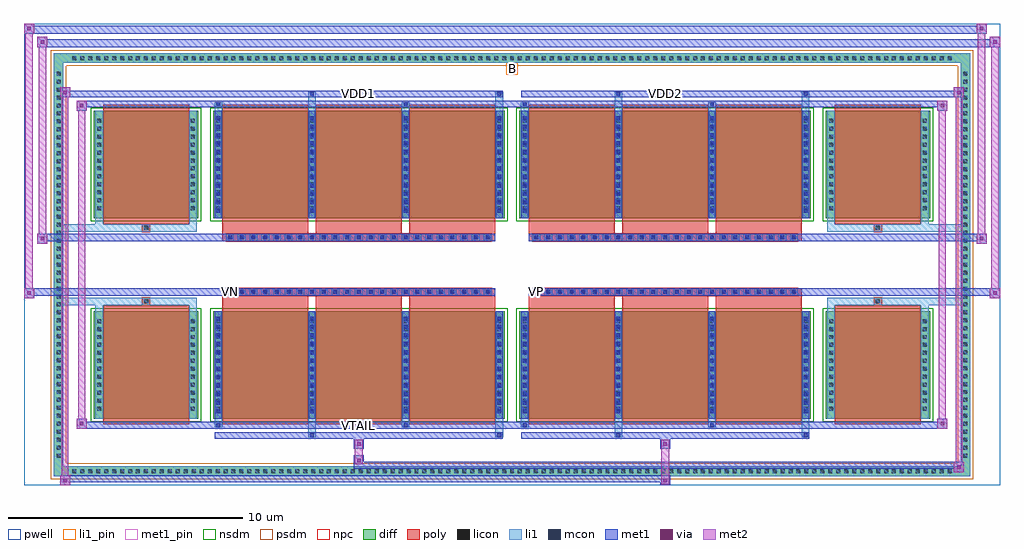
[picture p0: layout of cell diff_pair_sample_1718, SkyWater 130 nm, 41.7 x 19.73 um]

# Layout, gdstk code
import gdstk
lib = gdstk.Library(unit=1e-6, precision=5e-09)
def R(c, l, rs):  # rectangles x0, y0, x1, y1
    for r in rs: c.add(gdstk.rectangle(r[:2], r[2:], *l))
def A(c, l, x, y, w, h, nx, ny, dx, dy):  # array of equal rectangles
    R(c, l, [(x+i*dx, y+j*dy, x+i*dx+w, y+j*dy+h) for i in range(nx) for j in range(ny)])
def P(c, l, *ps):  # polygons
    for p in ps: c.add(gdstk.Polygon(p, *l))
pwell = (64, 44)
diff = (65, 20)
poly = (66, 20)
licon = (66, 44)
li1_pin = (67, 16)
li1 = (67, 20)
mcon = (67, 44)
met1_pin = (68, 16)
met1 = (68, 20)
via = (68, 44)
met2 = (69, 20)
nsdm = (93, 44)
psdm = (94, 20)
npc = (95, 20)

diff_pair_sample_1718 = lib.new_cell('diff_pair_sample_1718')
R(diff_pair_sample_1718, pwell, [(-20.85,-9.43,20.85,10.3), (-18.17,-7.62,-0.01,-0.8), (0.01,-7.62,18.17,-0.8), (-18.17,0.8,-0.01,7.62), (0.01,0.8,18.17,7.62)])
A(diff_pair_sample_1718, diff, -18.905, -9.03, 0.41, 0.41, 111, 2, 0.34, 17.65)
A(diff_pair_sample_1718, diff, -19.58, -8.365, 0.41, 0.41, 1, 49, 0, 0.34)
A(diff_pair_sample_1718, diff, 19.17, -8.365, 0.41, 0.41, 1, 49, 0, 0.34)
R(diff_pair_sample_1718, diff, [(-18.905,-9.03,18.905,-8.62), (-19.58,-8.365,-19.17,8.365), (19.17,-8.365,19.58,8.365), (-17.86,-6.575,-13.41,-1.985), (-12.77,-6.575,-0.32,-1.985), (0.32,-6.575,12.77,-1.985), (13.41,-6.575,17.86,-1.985), (-17.86,1.985,-13.41,6.575), (-12.77,1.985,-0.32,6.575), (0.32,1.985,12.77,6.575), (13.41,1.985,17.86,6.575), (-18.905,8.62,18.905,9.03)])
P(diff_pair_sample_1718, diff, [(19.58,9.03),(-19.58,9.03),(-19.58,-8.62),(-19.17,-8.62),(-19.17,8.62),(19.17,8.62),(19.17,-8.62),(-19.17,-8.62),(-19.58,-8.62),(-19.58,-9.03),(19.58,-9.03)])
A(diff_pair_sample_1718, poly, -12.38, -6.825, 3.67, 5.09, 3, 2, 4, 8.56)
A(diff_pair_sample_1718, poly, 0.71, -6.825, 3.67, 5.09, 3, 2, 4, 8.56)
A(diff_pair_sample_1718, poly, -12.38, -1.735, 3.67, 0.405, 3, 2, 4, 3.065)
A(diff_pair_sample_1718, poly, 0.71, -1.735, 3.67, 0.405, 3, 2, 4, 3.065)
A(diff_pair_sample_1718, poly, -12.21, -1.33, 0.33, 0.33, 23, 2, 0.5, 2.33)
A(diff_pair_sample_1718, poly, 0.88, -1.33, 0.33, 0.33, 23, 2, 0.5, 2.33)
R(diff_pair_sample_1718, poly, [(-17.47,-6.825,-13.8,-1.735), (13.8,-6.825,17.47,-1.735), (-15.8,-1.735,-15.47,-1.405), (-15.8,-1.735,-15.47,-1.405), (15.47,-1.735,15.8,-1.405), (15.47,-1.735,15.8,-1.405), (-12.38,-1.33,-0.71,-1), (0.71,-1.33,12.38,-1), (-12.38,1,-0.71,1.33), (0.71,1,12.38,1.33), (-15.8,1.405,-15.47,1.735), (-15.8,1.405,-15.47,1.735), (15.47,1.405,15.8,1.735), (15.47,1.405,15.8,1.735), (-17.47,1.735,-13.8,6.825), (13.8,1.735,17.47,6.825)])
A(diff_pair_sample_1718, licon, -18.785, -8.91, 0.17, 0.17, 111, 2, 0.34, 17.65)
A(diff_pair_sample_1718, licon, -19.46, -8.245, 0.17, 0.17, 1, 49, 0, 0.34)
A(diff_pair_sample_1718, licon, 19.29, -8.245, 0.17, 0.17, 1, 49, 0, 0.34)
A(diff_pair_sample_1718, licon, -17.72, -6.235, 0.17, 0.17, 1, 12, 0, 0.34)
A(diff_pair_sample_1718, licon, -13.72, -6.235, 0.17, 0.17, 1, 12, 0, 0.34)
A(diff_pair_sample_1718, licon, -12.63, -6.235, 0.17, 0.17, 4, 12, 4, 0.34)
A(diff_pair_sample_1718, licon, 0.46, -6.235, 0.17, 0.17, 4, 12, 4, 0.34)
A(diff_pair_sample_1718, licon, 13.55, -6.235, 0.17, 0.17, 1, 12, 0, 0.34)
A(diff_pair_sample_1718, licon, 17.55, -6.235, 0.17, 0.17, 1, 12, 0, 0.34)
A(diff_pair_sample_1718, licon, -12.13, -1.25, 0.17, 0.17, 23, 2, 0.5, 2.33)
A(diff_pair_sample_1718, licon, 0.96, -1.25, 0.17, 0.17, 23, 2, 0.5, 2.33)
A(diff_pair_sample_1718, licon, -17.72, 2.325, 0.17, 0.17, 1, 12, 0, 0.34)
A(diff_pair_sample_1718, licon, -13.72, 2.325, 0.17, 0.17, 1, 12, 0, 0.34)
A(diff_pair_sample_1718, licon, -12.63, 2.325, 0.17, 0.17, 4, 12, 4, 0.34)
A(diff_pair_sample_1718, licon, 0.46, 2.325, 0.17, 0.17, 4, 12, 4, 0.34)
A(diff_pair_sample_1718, licon, 13.55, 2.325, 0.17, 0.17, 1, 12, 0, 0.34)
A(diff_pair_sample_1718, licon, 17.55, 2.325, 0.17, 0.17, 1, 12, 0, 0.34)
R(diff_pair_sample_1718, licon, [(-15.72,-1.655,-15.55,-1.485), (15.55,-1.655,15.72,-1.485), (-15.72,1.485,-15.55,1.655), (15.55,1.485,15.72,1.655)])
R(diff_pair_sample_1718, li1_pin, [(-0.25,8.12,0.25,8.62)])
A(diff_pair_sample_1718, li1, -18.865, -8.99, 0.33, 0.33, 111, 2, 0.34, 17.65)
A(diff_pair_sample_1718, li1, -19.54, -8.325, 0.33, 0.33, 1, 49, 0, 0.34)
A(diff_pair_sample_1718, li1, 19.21, -8.325, 0.33, 0.33, 1, 49, 0, 0.34)
A(diff_pair_sample_1718, li1, -12.71, -6.575, 0.33, 4.59, 4, 2, 4, 8.56)
A(diff_pair_sample_1718, li1, 0.38, -6.575, 0.33, 4.59, 4, 2, 4, 8.56)
A(diff_pair_sample_1718, li1, -12.63, -6.345, 0.17, 0.17, 4, 12, 4, 0.36)
A(diff_pair_sample_1718, li1, -12.63, -6.345, 0.17, 4.13, 4, 2, 4, 8.56)
A(diff_pair_sample_1718, li1, 0.46, -6.345, 0.17, 0.17, 4, 12, 4, 0.36)
A(diff_pair_sample_1718, li1, 0.46, -6.345, 0.17, 4.13, 4, 2, 4, 8.56)
A(diff_pair_sample_1718, li1, -17.8, -6.315, 0.33, 0.33, 1, 12, 0, 0.34)
A(diff_pair_sample_1718, li1, -13.8, -6.315, 0.33, 0.33, 1, 12, 0, 0.34)
A(diff_pair_sample_1718, li1, -12.71, -6.315, 0.33, 0.33, 4, 12, 4, 0.34)
A(diff_pair_sample_1718, li1, 0.38, -6.315, 0.33, 0.33, 4, 12, 4, 0.34)
A(diff_pair_sample_1718, li1, 13.47, -6.315, 0.33, 0.33, 1, 12, 0, 0.34)
A(diff_pair_sample_1718, li1, 17.47, -6.315, 0.33, 0.33, 1, 12, 0, 0.34)
A(diff_pair_sample_1718, li1, -12.21, -1.33, 0.33, 0.33, 23, 2, 0.5, 2.33)
A(diff_pair_sample_1718, li1, 0.88, -1.33, 0.33, 0.33, 23, 2, 0.5, 2.33)
A(diff_pair_sample_1718, li1, -12.63, 2.215, 0.17, 0.17, 4, 12, 4, 0.36)
A(diff_pair_sample_1718, li1, 0.46, 2.215, 0.17, 0.17, 4, 12, 4, 0.36)
A(diff_pair_sample_1718, li1, -17.8, 2.245, 0.33, 0.33, 1, 12, 0, 0.34)
A(diff_pair_sample_1718, li1, -13.8, 2.245, 0.33, 0.33, 1, 12, 0, 0.34)
A(diff_pair_sample_1718, li1, -12.71, 2.245, 0.33, 0.33, 4, 12, 4, 0.34)
A(diff_pair_sample_1718, li1, 0.38, 2.245, 0.33, 0.33, 4, 12, 4, 0.34)
A(diff_pair_sample_1718, li1, 13.47, 2.245, 0.33, 0.33, 1, 12, 0, 0.34)
A(diff_pair_sample_1718, li1, 17.47, 2.245, 0.33, 0.33, 1, 12, 0, 0.34)
R(diff_pair_sample_1718, li1, [(-19.58,-9.03,-19.17,-8.62), (-19.58,-9.03,-19.17,-8.62), (-19.17,-9.03,19.17,-8.62), (19.17,-9.03,19.58,-8.62), (19.17,-9.03,19.58,-8.62), (-19.58,-8.62,-19.17,8.62), (19.17,-8.62,19.58,8.62), (-8.71,-7.38,-8.38,-6.575), (-8.63,-7.38,-8.46,-7.21), (-0.71,-7.38,-0.38,-6.575), (-0.63,-7.38,-0.46,-7.21), (4.38,-7.38,4.71,-6.575), (4.46,-7.38,4.63,-7.21), (12.38,-7.38,12.71,-6.575), (12.46,-7.38,12.63,-7.21), (-12.71,-6.95,-12.38,-6.575), (-12.63,-6.95,-12.46,-6.78), (-4.71,-6.95,-4.38,-6.575), (-4.63,-6.95,-4.46,-6.78), (0.38,-6.95,0.71,-6.575), (0.46,-6.95,0.63,-6.78), (8.38,-6.95,8.71,-6.575), (8.46,-6.95,8.63,-6.78), (-17.8,-6.575,-17.47,-1.985), (-13.8,-6.575,-13.47,-1.985), (13.47,-6.575,13.8,-1.985), (17.47,-6.575,17.8,-1.985), (-17.8,-1.985,-17.47,-1.405), (-13.8,-1.985,-13.47,-1.405), (13.47,-1.985,13.8,-1.405), (17.47,-1.985,17.8,-1.405), (-19.58,-1.735,-15.8,-1.405), (-17.8,-1.735,-15.8,-1.405), (-15.8,-1.735,-15.47,-1.405), (-15.47,-1.735,-13.47,-1.405), (13.47,-1.735,15.47,-1.405), (15.47,-1.735,15.8,-1.405), (15.47,-1.735,19.58,-1.405), (15.8,-1.735,17.8,-1.405), (-19.58,1.405,-15.8,1.735), (-17.8,1.405,-15.8,1.735), (-17.8,1.405,-17.47,1.985), (-15.8,1.405,-15.47,1.735), (-15.47,1.405,-13.47,1.735), (-13.8,1.405,-13.47,1.985), (13.47,1.405,15.47,1.735), (13.47,1.405,13.8,1.985), (15.47,1.405,15.8,1.735), (15.47,1.405,19.58,1.735), (15.8,1.405,17.8,1.735), (17.47,1.405,17.8,1.985), (-17.8,1.985,-17.47,6.575), (-13.8,1.985,-13.47,6.575), (13.47,1.985,13.8,6.575), (17.47,1.985,17.8,6.575), (-12.71,6.575,-12.38,6.95), (-8.71,6.575,-8.38,7.38), (-4.71,6.575,-4.38,6.95), (-0.71,6.575,-0.38,7.38), (0.38,6.575,0.71,6.95), (4.38,6.575,4.71,7.38), (8.38,6.575,8.71,6.95), (12.38,6.575,12.71,7.38), (-12.63,6.78,-12.46,6.95), (-4.63,6.78,-4.46,6.95), (0.46,6.78,0.63,6.95), (8.46,6.78,8.63,6.95), (-8.63,7.21,-8.46,7.38), (-0.63,7.21,-0.46,7.38), (4.46,7.21,4.63,7.38), (12.46,7.21,12.63,7.38), (-19.58,8.62,-19.17,9.03), (-19.58,8.62,-19.17,9.03), (-19.17,8.62,19.17,9.03), (19.17,8.62,19.58,9.03), (19.17,8.62,19.58,9.03)])
A(diff_pair_sample_1718, mcon, -12.63, -6.345, 0.17, 0.17, 4, 12, 4, 0.36)
A(diff_pair_sample_1718, mcon, 0.46, -6.345, 0.17, 0.17, 4, 12, 4, 0.36)
A(diff_pair_sample_1718, mcon, -12.13, -1.25, 0.17, 0.17, 23, 2, 0.5, 2.33)
A(diff_pair_sample_1718, mcon, 0.96, -1.25, 0.17, 0.17, 23, 2, 0.5, 2.33)
A(diff_pair_sample_1718, mcon, -12.63, 2.215, 0.17, 0.17, 4, 12, 4, 0.36)
A(diff_pair_sample_1718, mcon, 0.46, 2.215, 0.17, 0.17, 4, 12, 4, 0.36)
R(diff_pair_sample_1718, mcon, [(-8.63,-7.38,-8.46,-7.21), (-0.63,-7.38,-0.46,-7.21), (4.46,-7.38,4.63,-7.21), (12.46,-7.38,12.63,-7.21), (-12.63,-6.95,-12.46,-6.78), (-4.63,-6.95,-4.46,-6.78), (0.46,-6.95,0.63,-6.78), (8.46,-6.95,8.63,-6.78), (-12.63,6.78,-12.46,6.95), (-4.63,6.78,-4.46,6.95), (0.46,6.78,0.63,6.95), (8.46,6.78,8.63,6.95), (-8.63,7.21,-8.46,7.38), (-0.63,7.21,-0.46,7.38), (4.46,7.21,4.63,7.38), (12.46,7.21,12.63,7.38)])
R(diff_pair_sample_1718, met1_pin, [(-6.68,-6.99,-6.41,-6.72), (-12.18,-1.29,-11.91,-1.02), (0.91,-1.29,1.18,-1.02), (-6.68,7.17,-6.41,7.44), (6.41,7.17,6.68,7.44)])
A(diff_pair_sample_1718, met1, -12.69, -6.575, 0.29, 4.59, 4, 2, 4, 8.56)
A(diff_pair_sample_1718, met1, 0.4, -6.575, 0.29, 4.59, 4, 2, 4, 8.56)
A(diff_pair_sample_1718, met1, -12.69, -6.405, 0.29, 0.29, 4, 12, 4, 0.36)
A(diff_pair_sample_1718, met1, 0.4, -6.405, 0.29, 0.29, 4, 12, 4, 0.36)
A(diff_pair_sample_1718, met1, -12.19, -1.31, 0.29, 0.29, 23, 2, 0.5, 2.33)
A(diff_pair_sample_1718, met1, 0.9, -1.31, 0.29, 0.29, 23, 2, 0.5, 2.33)
A(diff_pair_sample_1718, met1, -12.69, 2.155, 0.29, 0.29, 4, 12, 4, 0.36)
A(diff_pair_sample_1718, met1, 0.4, 2.155, 0.29, 0.29, 4, 12, 4, 0.36)
R(diff_pair_sample_1718, met1, [(-19.31,-9.43,-18.88,-9), (6.33,-9.43,6.76,-9), (-19.31,-9.29,6.76,-9), (18.88,-8.86,19.31,-8.43), (-6.76,-8.72,19.31,-8.43), (-6.76,-8.58,-6.33,-8.15), (-6.76,-7.87,-6.33,-7.44), (6.33,-7.87,6.76,-7.44), (-12.69,-7.44,-0.4,-7.15), (-8.69,-7.44,-8.4,-7.15), (-0.69,-7.44,-0.4,-7.15), (0.4,-7.44,12.69,-7.15), (4.4,-7.44,4.69,-7.15), (12.4,-7.44,12.69,-7.15), (-18.6,-7.01,-18.17,-6.58), (-18.6,-7.01,-12.69,-6.72), (-12.69,-7.01,-12.4,-6.72), (-12.69,-7.01,-0.4,-6.72), (-4.69,-7.01,-4.4,-6.72), (-0.4,-7.01,0.4,-6.72), (0.4,-7.01,0.69,-6.72), (0.4,-7.01,12.69,-6.72), (8.4,-7.01,8.69,-6.72), (12.69,-7.01,18.6,-6.72), (18.17,-7.01,18.6,-6.58), (-20.85,-1.43,-20.42,-1), (20.42,-1.43,20.85,-1), (-20.85,-1.33,-0.71,-1), (-12.38,-1.33,-0.71,-1), (0.71,-1.33,12.38,-1), (0.71,-1.33,20.85,-1), (-20.28,0.9,-19.85,1.33), (19.85,0.9,20.28,1.33), (-20.28,1,-12.38,1.33), (-12.38,1,-0.71,1.33), (0.71,1,12.38,1.33), (12.38,1,20.28,1.33), (-18.6,6.58,-18.17,7.01), (18.17,6.58,18.6,7.01), (-18.6,6.72,-12.69,7.01), (-12.69,6.72,-12.4,7.01), (-12.69,6.72,-0.4,7.01), (-4.69,6.72,-4.4,7.01), (-0.4,6.72,0.4,7.01), (0.4,6.72,0.69,7.01), (0.4,6.72,12.69,7.01), (8.4,6.72,8.69,7.01), (12.69,6.72,18.6,7.01), (-19.31,7.15,-18.88,7.58), (-19.31,7.15,-12.69,7.44), (-12.69,7.15,-0.4,7.44), (-8.69,7.15,-8.4,7.44), (-0.69,7.15,-0.4,7.44), (0.4,7.15,12.69,7.44), (4.4,7.15,4.69,7.44), (12.4,7.15,12.69,7.44), (12.69,7.15,19.31,7.44), (18.88,7.15,19.31,7.58), (-20.28,9.3,-19.85,9.73), (-20.28,9.3,-18.17,9.63), (-18.17,9.3,18.17,9.63), (18.17,9.3,20.85,9.63), (20.42,9.3,20.85,9.73), (-20.85,9.87,-20.42,10.3), (-20.85,9.87,-18.17,10.2), (-18.17,9.87,18.17,10.2), (18.17,9.87,20.28,10.2), (19.85,9.87,20.28,10.3)])
R(diff_pair_sample_1718, via, [(-19.17,-9.29,-19.02,-9.14), (6.47,-9.29,6.62,-9.14), (19.02,-8.72,19.17,-8.57), (-6.62,-8.44,-6.47,-8.29), (-6.62,-7.73,-6.47,-7.58), (6.47,-7.73,6.62,-7.58), (-18.46,-6.87,-18.31,-6.72), (18.31,-6.87,18.46,-6.72), (-20.71,-1.29,-20.56,-1.14), (20.56,-1.29,20.71,-1.14), (-20.14,1.04,-19.99,1.19), (19.99,1.04,20.14,1.19), (-18.46,6.72,-18.31,6.87), (18.31,6.72,18.46,6.87), (-19.17,7.29,-19.02,7.44), (19.02,7.29,19.17,7.44), (-20.14,9.44,-19.99,9.59), (20.56,9.44,20.71,9.59), (-20.71,10.01,-20.56,10.16), (19.99,10.01,20.14,10.16)])
R(diff_pair_sample_1718, met2, [(-19.31,-9.43,-18.88,-9), (-19.24,-9.43,-18.95,7.58), (-18.95,-9.43,-18.88,-9), (-19.26,-9.38,-18.93,-9.05), (6.38,-9.38,6.71,-9.05), (6.38,-9.05,6.71,-7.82), (18.88,-8.86,19.31,-8.43), (18.95,-8.86,19.24,7.58), (19.24,-8.86,19.31,-8.43), (18.93,-8.81,19.26,-8.48), (-6.71,-8.53,-6.38,-8.2), (-6.71,-8.2,-6.38,-7.82), (-6.71,-7.82,-6.38,-7.49), (6.38,-7.82,6.71,-7.49), (-18.6,-7.01,-18.17,-6.58), (-18.53,-7.01,-18.24,7.01), (-18.24,-7.01,-18.17,-6.58), (18.17,-7.01,18.6,-6.58), (18.24,-7.01,18.53,7.01), (18.53,-7.01,18.6,-6.58), (-18.55,-6.96,-18.22,-6.63), (18.22,-6.96,18.55,-6.63), (-20.85,-1.43,-20.42,-1), (-20.8,-1.43,-20.47,10.3), (-20.47,-1.43,-20.42,-1), (20.42,-1.43,20.85,-1), (20.47,-1.43,20.8,9.73), (20.8,-1.43,20.85,-1), (-20.8,-1.38,-20.47,-1.05), (20.47,-1.38,20.8,-1.05), (-20.28,0.9,-19.85,1.33), (-20.23,0.9,-19.9,9.73), (-19.9,0.9,-19.85,1.33), (19.85,0.9,20.28,1.33), (19.9,0.9,20.23,10.3), (20.23,0.9,20.28,1.33), (-20.23,0.95,-19.9,1.28), (19.9,0.95,20.23,1.28), (-18.6,6.58,-18.17,7.01), (-18.24,6.58,-18.17,7.01), (18.17,6.58,18.6,7.01), (18.53,6.58,18.6,7.01), (-18.55,6.63,-18.22,6.96), (18.22,6.63,18.55,6.96), (-19.31,7.15,-18.88,7.58), (-18.95,7.15,-18.88,7.58), (18.88,7.15,19.31,7.58), (19.24,7.15,19.31,7.58), (-19.26,7.2,-18.93,7.53), (18.93,7.2,19.26,7.53), (-20.28,9.3,-19.85,9.73), (-19.9,9.3,-19.85,9.73), (20.42,9.3,20.85,9.73), (20.8,9.3,20.85,9.73), (-20.23,9.35,-19.9,9.68), (20.47,9.35,20.8,9.68), (-20.85,9.87,-20.42,10.3), (-20.47,9.87,-20.42,10.3), (19.85,9.87,20.28,10.3), (20.23,9.87,20.28,10.3), (-20.8,9.92,-20.47,10.25), (19.9,9.92,20.23,10.25)])
R(diff_pair_sample_1718, nsdm, [(-17.99,-6.705,-13.28,-1.855), (-12.9,-6.705,-0.19,-1.855), (0.19,-6.705,12.9,-1.855), (13.28,-6.705,17.99,-1.855), (-17.99,1.855,-13.28,6.705), (-12.9,1.855,-0.19,6.705), (0.19,1.855,12.9,6.705), (13.28,1.855,17.99,6.705)])
P(diff_pair_sample_1718, psdm, [(19.71,9.16),(-19.71,9.16),(-19.71,-8.49),(-19.04,-8.49),(-19.04,8.49),(19.04,8.49),(19.04,-8.49),(-19.04,-8.49),(-19.71,-8.49),(-19.71,-9.16),(19.71,-9.16)])
A(diff_pair_sample_1718, npc, -12.23, -1.35, 0.37, 0.37, 23, 2, 0.5, 2.33)
A(diff_pair_sample_1718, npc, 0.86, -1.35, 0.37, 0.37, 23, 2, 0.5, 2.33)
R(diff_pair_sample_1718, npc, [(-15.82,-1.755,-15.45,-1.385), (15.45,-1.755,15.82,-1.385), (-12.23,-1.35,-11.36,-0.98), (-12.23,-1.35,-11.36,-0.98), (-11.73,-1.35,-10.86,-0.98), (-11.73,-1.35,-10.86,-0.98), (-11.23,-1.35,-10.36,-0.98), (-11.23,-1.35,-10.36,-0.98), (-10.73,-1.35,-9.86,-0.98), (-10.73,-1.35,-9.86,-0.98), (-10.23,-1.35,-9.36,-0.98), (-10.23,-1.35,-9.36,-0.98), (-9.73,-1.35,-8.86,-0.98), (-9.73,-1.35,-8.86,-0.98), (-9.23,-1.35,-8.36,-0.98), (-9.23,-1.35,-8.36,-0.98), (-8.73,-1.35,-7.86,-0.98), (-8.73,-1.35,-7.86,-0.98), (-8.23,-1.35,-7.36,-0.98), (-8.23,-1.35,-7.36,-0.98), (-7.73,-1.35,-6.86,-0.98), (-7.73,-1.35,-6.86,-0.98), (-7.23,-1.35,-6.36,-0.98), (-7.23,-1.35,-6.36,-0.98), (-6.73,-1.35,-5.86,-0.98), (-6.73,-1.35,-5.86,-0.98), (-6.23,-1.35,-5.36,-0.98), (-6.23,-1.35,-5.36,-0.98), (-5.73,-1.35,-4.86,-0.98), (-5.73,-1.35,-4.86,-0.98), (-5.23,-1.35,-4.36,-0.98), (-5.23,-1.35,-4.36,-0.98), (-4.73,-1.35,-3.86,-0.98), (-4.73,-1.35,-3.86,-0.98), (-4.23,-1.35,-3.36,-0.98), (-4.23,-1.35,-3.36,-0.98), (-3.73,-1.35,-2.86,-0.98), (-3.73,-1.35,-2.86,-0.98), (-3.23,-1.35,-2.36,-0.98), (-3.23,-1.35,-2.36,-0.98), (-2.73,-1.35,-1.86,-0.98), (-2.73,-1.35,-1.86,-0.98), (-2.23,-1.35,-1.36,-0.98), (-2.23,-1.35,-1.36,-0.98), (-1.73,-1.35,-0.86,-0.98), (-1.73,-1.35,-0.86,-0.98), (0.86,-1.35,1.73,-0.98), (0.86,-1.35,1.73,-0.98), (1.36,-1.35,2.23,-0.98), (1.36,-1.35,2.23,-0.98), (1.86,-1.35,2.73,-0.98), (1.86,-1.35,2.73,-0.98), (2.36,-1.35,3.23,-0.98), (2.36,-1.35,3.23,-0.98), (2.86,-1.35,3.73,-0.98), (2.86,-1.35,3.73,-0.98), (3.36,-1.35,4.23,-0.98), (3.36,-1.35,4.23,-0.98), (3.86,-1.35,4.73,-0.98), (3.86,-1.35,4.73,-0.98), (4.36,-1.35,5.23,-0.98), (4.36,-1.35,5.23,-0.98), (4.86,-1.35,5.73,-0.98), (4.86,-1.35,5.73,-0.98), (5.36,-1.35,6.23,-0.98), (5.36,-1.35,6.23,-0.98), (5.86,-1.35,6.73,-0.98), (5.86,-1.35,6.73,-0.98), (6.36,-1.35,7.23,-0.98), (6.36,-1.35,7.23,-0.98), (6.86,-1.35,7.73,-0.98), (6.86,-1.35,7.73,-0.98), (7.36,-1.35,8.23,-0.98), (7.36,-1.35,8.23,-0.98), (7.86,-1.35,8.73,-0.98), (7.86,-1.35,8.73,-0.98), (8.36,-1.35,9.23,-0.98), (8.36,-1.35,9.23,-0.98), (8.86,-1.35,9.73,-0.98), (8.86,-1.35,9.73,-0.98), (9.36,-1.35,10.23,-0.98), (9.36,-1.35,10.23,-0.98), (9.86,-1.35,10.73,-0.98), (9.86,-1.35,10.73,-0.98), (10.36,-1.35,11.23,-0.98), (10.36,-1.35,11.23,-0.98), (10.86,-1.35,11.73,-0.98), (10.86,-1.35,11.73,-0.98), (11.36,-1.35,12.23,-0.98), (11.36,-1.35,12.23,-0.98), (-12.23,0.98,-11.36,1.35), (-12.23,0.98,-11.36,1.35), (-11.73,0.98,-10.86,1.35), (-11.73,0.98,-10.86,1.35), (-11.23,0.98,-10.36,1.35), (-11.23,0.98,-10.36,1.35), (-10.73,0.98,-9.86,1.35), (-10.73,0.98,-9.86,1.35), (-10.23,0.98,-9.36,1.35), (-10.23,0.98,-9.36,1.35), (-9.73,0.98,-8.86,1.35), (-9.73,0.98,-8.86,1.35), (-9.23,0.98,-8.36,1.35), (-9.23,0.98,-8.36,1.35), (-8.73,0.98,-7.86,1.35), (-8.73,0.98,-7.86,1.35), (-8.23,0.98,-7.36,1.35), (-8.23,0.98,-7.36,1.35), (-7.73,0.98,-6.86,1.35), (-7.73,0.98,-6.86,1.35), (-7.23,0.98,-6.36,1.35), (-7.23,0.98,-6.36,1.35), (-6.73,0.98,-5.86,1.35), (-6.73,0.98,-5.86,1.35), (-6.23,0.98,-5.36,1.35), (-6.23,0.98,-5.36,1.35), (-5.73,0.98,-4.86,1.35), (-5.73,0.98,-4.86,1.35), (-5.23,0.98,-4.36,1.35), (-5.23,0.98,-4.36,1.35), (-4.73,0.98,-3.86,1.35), (-4.73,0.98,-3.86,1.35), (-4.23,0.98,-3.36,1.35), (-4.23,0.98,-3.36,1.35), (-3.73,0.98,-2.86,1.35), (-3.73,0.98,-2.86,1.35), (-3.23,0.98,-2.36,1.35), (-3.23,0.98,-2.36,1.35), (-2.73,0.98,-1.86,1.35), (-2.73,0.98,-1.86,1.35), (-2.23,0.98,-1.36,1.35), (-2.23,0.98,-1.36,1.35), (-1.73,0.98,-0.86,1.35), (-1.73,0.98,-0.86,1.35), (0.86,0.98,1.73,1.35), (0.86,0.98,1.73,1.35), (1.36,0.98,2.23,1.35), (1.36,0.98,2.23,1.35), (1.86,0.98,2.73,1.35), (1.86,0.98,2.73,1.35), (2.36,0.98,3.23,1.35), (2.36,0.98,3.23,1.35), (2.86,0.98,3.73,1.35), (2.86,0.98,3.73,1.35), (3.36,0.98,4.23,1.35), (3.36,0.98,4.23,1.35), (3.86,0.98,4.73,1.35), (3.86,0.98,4.73,1.35), (4.36,0.98,5.23,1.35), (4.36,0.98,5.23,1.35), (4.86,0.98,5.73,1.35), (4.86,0.98,5.73,1.35), (5.36,0.98,6.23,1.35), (5.36,0.98,6.23,1.35), (5.86,0.98,6.73,1.35), (5.86,0.98,6.73,1.35), (6.36,0.98,7.23,1.35), (6.36,0.98,7.23,1.35), (6.86,0.98,7.73,1.35), (6.86,0.98,7.73,1.35), (7.36,0.98,8.23,1.35), (7.36,0.98,8.23,1.35), (7.86,0.98,8.73,1.35), (7.86,0.98,8.73,1.35), (8.36,0.98,9.23,1.35), (8.36,0.98,9.23,1.35), (8.86,0.98,9.73,1.35), (8.86,0.98,9.73,1.35), (9.36,0.98,10.23,1.35), (9.36,0.98,10.23,1.35), (9.86,0.98,10.73,1.35), (9.86,0.98,10.73,1.35), (10.36,0.98,11.23,1.35), (10.36,0.98,11.23,1.35), (10.86,0.98,11.73,1.35), (10.86,0.98,11.73,1.35), (11.36,0.98,12.23,1.35), (11.36,0.98,12.23,1.35), (-15.82,1.385,-15.45,1.755), (15.45,1.385,15.82,1.755)])
diff_pair_sample_1718.add(gdstk.Label('VTAIL', (-6.545,-6.855), layer=68, texttype=5))
diff_pair_sample_1718.add(gdstk.Label('VN', (-12.045,-1.155), layer=68, texttype=5))
diff_pair_sample_1718.add(gdstk.Label('VP', (1.045,-1.155), layer=68, texttype=5))
diff_pair_sample_1718.add(gdstk.Label('B', (0,8.37), layer=67, texttype=5))
diff_pair_sample_1718.add(gdstk.Label('VDD2', (6.545,7.305), layer=68, texttype=5))
diff_pair_sample_1718.add(gdstk.Label('VDD1', (-6.545,7.305), layer=68, texttype=5))

lib.write_gds('diff_pair_sample_1718.gds')
